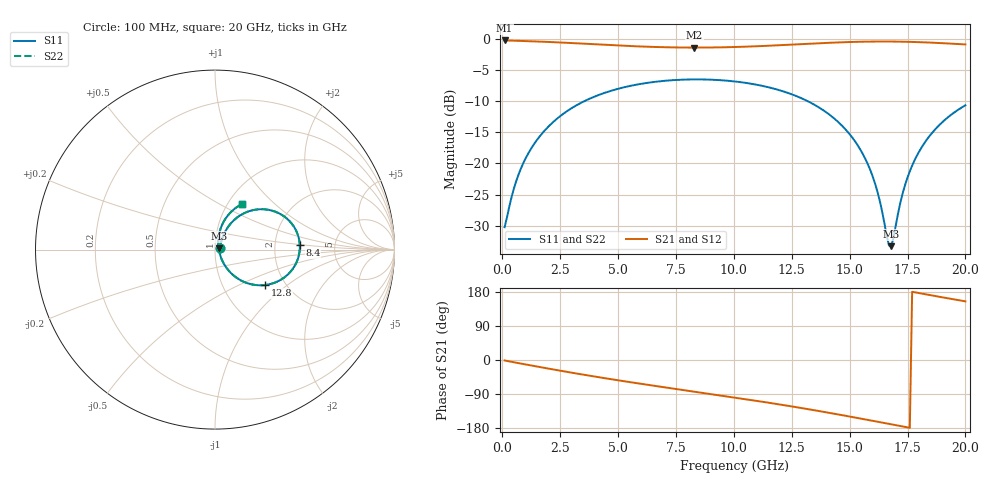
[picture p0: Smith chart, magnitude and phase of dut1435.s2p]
! Touchstone file exported from HFSS 2026.1.0
!  File:  C:/ffzhzh/LocalFiles/Ansys_Project_Files/temp_train_TSV_RDL_1435_1783356398_46376.aedt
!  Generated:  12:58:07 AM Jul  7, 2026
!  Design:  TSV_RDL
!  Project:  temp_train_TSV_RDL_1435_1783356398_46376
! Variables:
!  h_bsmrdl = 2.22um
!  h_ox = 20um
!  h_rdl = 5um
!  h_sub = 54.65um
!  h_tmrdl = 2.1um
!  h_tsv = 54.65um
!  h_via = 3um
!  l_bsmrdl = 461.16um
!  l_sub = 3455.21um
!  l_tmrdl = 389.23um
!  m_sub = 200um
!  pitch = 38.11um
!  r_tsv = 8.67um
!  s_tmrdl = 10um
!  w_bsmrdl = 24.33um
!  w_sub = 500um
!  w_tmrdl = 13.94um
!  x_tsv_center1 = 396.2um
!  x_tsv_center2 = 881.69um
!  x_tsv_center3 = 1284.86um
!  x_tsv_center4 = 1770.35um
!  x_tsv_center5 = 2173.52um
!  x_tsv_center6 = 2659.01um
# GHz S MA R 50.000000
! Terminal data exported
! Port[1] = TM_RDL1_1_T1
! Port[2] = TM_RDL5_1_T1
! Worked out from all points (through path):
!   200 points, 100 MHz to 20 GHz, reference 50 ohm
!   highest |S21| = -0.25 dB at 100 MHz (marker M1); lowest = -1.4 dB at 8.3 GHz (marker M2)
!   group delay of S21, straight-line fit = 27.6 ps
!   lowest |S11| = -33.3 dB at 16.8 GHz (marker M3), VSWR 1.04, Z = 52.1 + j0.767 ohm
!   |S11| at or under -10 dB: start of sweep to 3.544 GHz; 13.19 GHz to end of sweep
!   |S22| runs from -33.3 to -6.5 dB; largest |S21 - S12| = 1.6e-14
!   S11 on the Smith chart (normalised r, x): 100 MHz: 1.06, +0.02; 8.4 GHz: 2.78, +0.19; 12.8 GHz: 1.58, -0.71; 20 GHz: 1.16, +0.64
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0.1  0.03079 20.5  0.9713 -1.2  0.9713 -1.2  0.03079 20.5
! Gamma 0 0 0 0
! Port Impedance 50 0 50 0
0.6  0.07211 56.5  0.9659 -7.1  0.9659 -7.1  0.07211 56.5
1.3  0.1367 60.3  0.9563 -15.1  0.9563 -15.1  0.1367 60.3
2.2  0.2154 55.6  0.9415 -25.0  0.9415 -25.0  0.2154 55.6
3.5  0.3133 45.1  0.9152 -38.7  0.9152 -38.7  0.3134 45.1
5.1  0.402 31.1  0.883 -54.5  0.883 -54.5  0.4021 31.1
6.8  0.4567 16.6  0.859 -70.2  0.859 -70.2  0.4567 16.6
8.3  0.473 4.0  0.8514 -83.6  0.8514 -83.6  0.473 4.0
8.4  0.473 3.2  0.8514 -84.4  0.8514 -84.4  0.4731 3.2
10.1  0.454 -11.2  0.861 -99.6  0.861 -99.6  0.454 -11.2
12.8  0.3414 -35.3  0.9054 -125.5  0.9054 -125.5  0.3414 -35.3
13.4  0.3017 -40.9  0.9172 -131.7  0.9172 -131.7  0.3017 -40.9
14.7  0.1986 -52.4  0.9396 -145.8  0.9396 -145.8  0.1987 -52.4
15.6  0.1163 -57.9  0.9496 -155.9  0.9496 -155.9  0.1164 -57.9
16.2  0.05952 -54.2  0.9526 -162.8  0.9526 -162.8  0.05958 -54.2
16.7  0.02197 -5.6  0.9526 -168.6  0.9526 -168.6  0.02203 -5.7
16.8  0.02169 19.8  0.9523 -169.7  0.9523 -169.7  0.02172 19.7
17.3  0.05834 71.2  0.9493 -175.5  0.9493 -175.5  0.0583 71.1
17.6  0.08656 75.0  0.9465 -178.9  0.9465 -178.9  0.08652 75.0
17.9  0.115 75.3  0.9429 177.7  0.9429 177.7  0.1149 75.2
18.8  0.1971 70.0  0.9281 167.6  0.9281 167.6  0.197 69.9
20  0.293 59.5  0.9023 154.8  0.9023 154.8  0.2929 59.5
